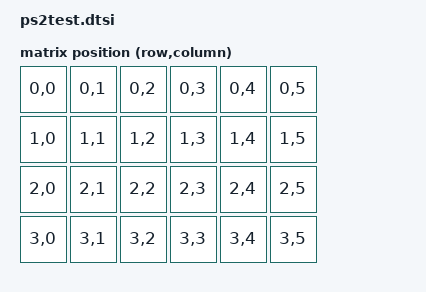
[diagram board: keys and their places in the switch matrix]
/*
 * Exp68 bench shield: 4x6 matrix (corne_trackpoint right half wiring) +
 * direct PS/2 trackpoint on P0.06/DAT + P0.08/CLK (no coprocessor).
 */
#include <dt-bindings/zmk/matrix_transform.h>
#include <zephyr/dt-bindings/input/input-event-codes.h>

/ {
    default_transform: keymap_transform0 {
        compatible = "zmk,matrix-transform";
        columns = <6>;
        rows = <4>;
        map = <
            RC(0,0) RC(0,1) RC(0,2) RC(0,3) RC(0,4) RC(0,5)
            RC(1,0) RC(1,1) RC(1,2) RC(1,3) RC(1,4) RC(1,5)
            RC(2,0) RC(2,1) RC(2,2) RC(2,3) RC(2,4) RC(2,5)
            RC(3,0) RC(3,1) RC(3,2) RC(3,3) RC(3,4) RC(3,5)
        >;
    };

    physical_layout0: physical_layout_0 {
        compatible = "zmk,physical-layout";
        display-name = "Default Layout";
        transform = <&default_transform>;
    };

    chosen {
        zmk,physical-layout = &physical_layout0;
    };
};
